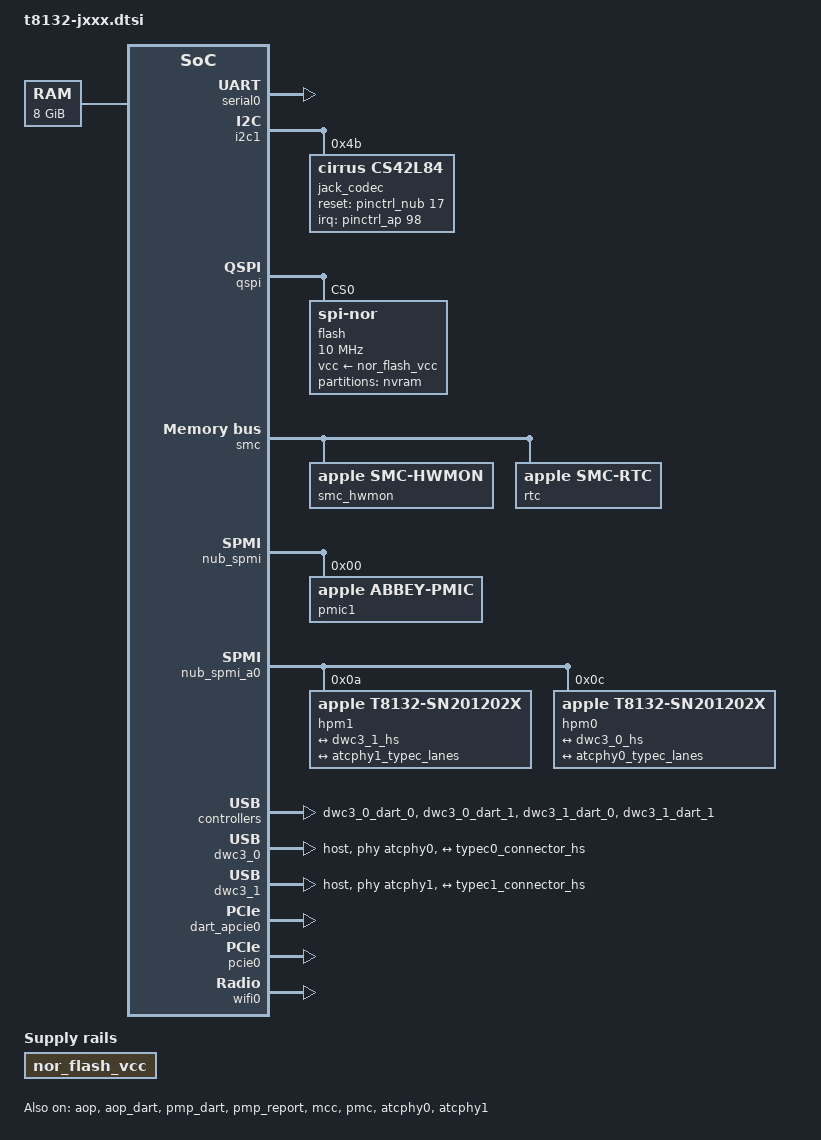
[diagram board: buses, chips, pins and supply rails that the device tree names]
// SPDX-License-Identifier: GPL-2.0+ OR MIT
/*
 * Apple M4 Mac mini, MacBook Air/Pro, iMac 24" (M4, 2024/2025)
 *
 * This file contains parts common to all Apple M4 devices using the t8132.
 *
 * target-type: J604, J623, J624, J713, J715, J773g
 *
 * Copyright The Asahi Linux Contributors
 */

#include <dt-bindings/gpio/gpio.h>
#include <dt-bindings/phy/phy.h>
#include <dt-bindings/spmi/spmi.h>

/ {
	aliases {
		serial0 = &serial0;
		sep = &sep;
		ans = &nvme;
		ans-mbox = &ans_mbox;
		atcphy0 = &atcphy0;
		atcphy1 = &atcphy1;
		bluetooth0 = &bluetooth0;
		nvram = &nvram;
		pmu-primary = &pmic1;
		pmp = &pmp;
		sart-ans = &sart;
		spmi-primary = &nub_spmi;
		wifi0 = &wifi0;
	};

	chosen {
		#address-cells = <2>;
		#size-cells = <2>;
		ranges;

		stdout-path = "serial0";

		linux-enablement-mac,disk-boot;
		linux-enablement-mac,dapf-handoff = "/arm-io/aop", "/arm-io/pmp";
		linux-enablement-mac,dapf-power-on-handoff = "/arm-io/pmp";

		framebuffer0: framebuffer@0 {
			compatible = "apple,simple-framebuffer", "simple-framebuffer";
			reg = <0 0 0 0>; /* To be filled by loader */
			power-domains = <&ps_disp_fe>, <&ps_dptx_phy>;
			/* Format properties will be added by loader */
			status = "disabled";
		};
	};

	reserved-memory {
		#address-cells = <2>;
		#size-cells = <2>;
		ranges;
		/* To be filled by loader */
	};

	memory@800000000 {
		device_type = "memory";
		reg = <0x8 0 0x2 0>; /* To be filled by loader */
	};

	/* The boot NOR's PMU rail is always on; the ADT gives it no supply. */
	nor_flash_vcc: regulator-nor-flash-vcc {
		compatible = "regulator-fixed";
		regulator-name = "nor-flash-vcc";
		regulator-always-on;
	};
};

&serial0 {
	status = "okay";
};

/*
 * m1n1 programs the AOP DART's DAPF and reserves its firmware and DAPF
 * windows when /chosen asks for the handoff, or disables the AOP.
 */
&aop {
	status = "okay";
};

&aop_dart {
	status = "okay";
};

&aop_mbox {
	/* A periodic report need not wake the system. */
	apple,hold-rx-in-sleep;
	status = "okay";
};

&admac0 {
	status = "okay";
};

&admac1 {
	status = "okay";
};

&cpufreq_e {
	status = "okay";
};

&cpufreq_p {
	status = "okay";
};

&cpuidle {
	status = "okay";
};

/* CS42L84 headphone codec: reset on nub GPIO 17, IRQ on AP GPIO 98. */
&i2c1 {
	status = "okay";

	jack_codec: codec@4b {
		compatible = "cirrus,cs42l84";
		reg = <0x4b>;
		reset-gpios = <&pinctrl_nub 17 GPIO_ACTIVE_HIGH>;
		#sound-dai-cells = <0>;
		interrupts-extended = <&pinctrl_ap 98 IRQ_TYPE_LEVEL_LOW>;
		sound-name-prefix = "Jack";
	};
};

&qspi {
	status = "okay";

	flash@0 {
		compatible = "jedec,spi-nor";
		reg = <0>;
		spi-max-frequency = <10000000>;
		vcc-supply = <&nor_flash_vcc>;
		spi-rx-bus-width = <1>;
		spi-tx-bus-width = <1>;

		partitions {
			compatible = "fixed-partitions";
			#address-cells = <1>;
			#size-cells = <1>;

			nvram: partition@700000 {
				label = "nvram";
				/* ADT /arm-io/qspi/spinor/anvram, flash-relative. */
				reg = <0x700000 0x100000>;
			};
		};
	};
};

&pmp_dart {
	status = "okay";
};

&pmp_report {
	status = "okay";
};

&pmp_mbox {
	status = "okay";
};

&mcc {
	apple,boot-dma-devices = <&pmp>;
	status = "okay";
};

&pmc {
	apple,static-voters = <3>;
	status = "okay";
};

&sep_mbox {
	status = "okay";
};

&smc {
	status = "okay";

	smc_hwmon: hwmon {
		compatible = "apple,smc-hwmon";
	};

	rtc {
		compatible = "apple,smc-rtc";
		nvmem-cells = <&rtc_offset>;
		nvmem-cell-names = "rtc_offset";
	};

	reboot {
		compatible = "apple,t8132-smc-reboot", "apple,smc-reboot";
		nvmem-cells = <&shutdown_flag>, <&boot_stage>,
			<&boot_error_count>, <&panic_count>;
		nvmem-cell-names = "shutdown_flag", "boot_stage",
			"boot_error_count", "panic_count";
	};
};

&smc_mbox {
	status = "okay";
};

&nub_spmi {
	status = "okay";

	pmic1: pmic@0 {
		compatible = "apple,abbey-pmic", "apple,spmi-nvmem";
		reg = <0x0 SPMI_USID>; /* To be filled by loader */

		nvmem-layout {
			compatible = "fixed-layout";
			#address-cells = <1>;
			#size-cells = <1>;

			rtc_offset: rtc-offset@2100 {
				reg = <0x2100 0x6>;
			};

			boot_stage: boot-stage@f801 {
				reg = <0xf801 0x1>;
			};

			boot_error_count: boot-error-count@f802,0 {
				reg = <0xf802 0x1>;
				bits = <0 4>;
			};

			panic_count: panic-count@f802,4 {
				reg = <0xf802 0x1>;
				bits = <4 4>;
			};

			shutdown_flag: shutdown-flag@f80f,3 {
				reg = <0xf80f 0x1>;
				bits = <3 1>;
			};
		};
	};
};

/* ATC0 and ATC1's port controllers. Boards label the connectors. */
&nub_spmi_a0 {
	status = "okay";

	hpm1: usb-pd@a {
		compatible = "apple,t8132-sn201202x", "apple,sn201202x";
		reg = <0xa SPMI_USID>;
		interrupts = <37 IRQ_TYPE_EDGE_RISING>,
			     <43 IRQ_TYPE_EDGE_RISING>,
			     <45 IRQ_TYPE_EDGE_RISING>;
		interrupt-names = "irq", "sleep", "wake";
		wakeup-source;

		typec1: connector {
			compatible = "usb-c-connector";
			power-role = "dual";
			data-role = "dual";

			ports {
				#address-cells = <1>;
				#size-cells = <0>;

				port@0 {
					reg = <0>;
					typec1_connector_hs: endpoint {
						remote-endpoint = <&dwc3_1_hs>;
					};
				};

				port@1 {
					reg = <1>;
					typec1_connector_ss: endpoint {
						remote-endpoint = <&atcphy1_typec_lanes>;
					};
				};
			};
		};
	};

	hpm0: usb-pd@c {
		compatible = "apple,t8132-sn201202x", "apple,sn201202x";
		reg = <0xc SPMI_USID>;
		interrupts = <11 IRQ_TYPE_EDGE_RISING>,
			     <17 IRQ_TYPE_EDGE_RISING>,
			     <19 IRQ_TYPE_EDGE_RISING>;
		interrupt-names = "irq", "sleep", "wake";
		wakeup-source;

		typec0: connector {
			compatible = "usb-c-connector";
			power-role = "dual";
			data-role = "dual";

			ports {
				#address-cells = <1>;
				#size-cells = <0>;

				port@0 {
					reg = <0>;
					typec0_connector_hs: endpoint {
						remote-endpoint = <&dwc3_0_hs>;
					};
				};

				port@1 {
					reg = <1>;
					typec0_connector_ss: endpoint {
						remote-endpoint = <&atcphy0_typec_lanes>;
					};
				};
			};
		};
	};
};

&atcphy0 {
	/* Leave the display crossbar at core + 0x4c000 to its own driver. */
	reg = <0x4 0x02a90000 0x0 0x4000>,
	      <0x4 0x02a84000 0x0 0x4000>,
	      <0x4 0x03000000 0x0 0x24000>,
	      <0x4 0x00000000 0x0 0x8000>,
	      <0x4 0x00020000 0x0 0x4000>,
	      <0x4 0x03044000 0x0 0x4000>,
	      <0x4 0x03050000 0x0 0x4000>;
	reg-names = "usb2phy", "pipehandler", "core", "axi2af", "lioa",
		    "fabric", "common-config";
	status = "okay";

	ports {
		#address-cells = <1>;
		#size-cells = <0>;

		port@0 {
			reg = <0>;
			atcphy0_typec_lanes: endpoint {
				remote-endpoint = <&typec0_connector_ss>;
			};
		};
	};
};

&dwc3_0_dart_0 {
	status = "okay";
};

&dwc3_0_dart_1 {
	status = "okay";
};

&dwc3_0 {
	dr_mode = "host";
	maximum-speed = "super-speed";
	phys = <&atcphy0 PHY_TYPE_USB2>, <&atcphy0 PHY_TYPE_USB3>;
	phy-names = "usb2-phy", "usb3-phy";
	status = "okay";

	ports {
		#address-cells = <1>;
		#size-cells = <0>;

		port@0 {
			reg = <0>;
			dwc3_0_hs: endpoint {
				remote-endpoint = <&typec0_connector_hs>;
			};
		};
	};
};

&atcphy1 {
	/* Leave the display crossbar at core + 0x4c000 to its own driver. */
	reg = <0x4 0x0aa90000 0x0 0x4000>,
	      <0x4 0x0aa84000 0x0 0x4000>,
	      <0x4 0x0b000000 0x0 0x24000>,
	      <0x4 0x08000000 0x0 0x8000>,
	      <0x4 0x08020000 0x0 0x4000>,
	      <0x4 0x0b044000 0x0 0x4000>,
	      <0x4 0x0b050000 0x0 0x4000>;
	reg-names = "usb2phy", "pipehandler", "core", "axi2af", "lioa",
		    "fabric", "common-config";
	status = "okay";

	ports {
		#address-cells = <1>;
		#size-cells = <0>;

		port@0 {
			reg = <0>;
			atcphy1_typec_lanes: endpoint {
				remote-endpoint = <&typec1_connector_ss>;
			};
		};
	};
};

&dwc3_1_dart_0 {
	status = "okay";
};

&dwc3_1_dart_1 {
	status = "okay";
};

&dwc3_1 {
	dr_mode = "host";
	maximum-speed = "super-speed";
	phys = <&atcphy1 PHY_TYPE_USB2>, <&atcphy1 PHY_TYPE_USB3>;
	phy-names = "usb2-phy", "usb3-phy";
	status = "okay";

	ports {
		#address-cells = <1>;
		#size-cells = <0>;

		port@0 {
			reg = <0>;
			dwc3_1_hs: endpoint {
				remote-endpoint = <&typec1_connector_hs>;
			};
		};
	};
};

/*
 * The radio port. m1n1 trains the link; Linux owns only the radio's
 * streams (ADT mapper-apcie0-wlan and -bt), RID-to-SID routing and MSI.
 * Power is the SMC's gP13, reset AP GPIO 163.
 */
&dart_apcie0 {
	apple,managed-sids = <1 2>;
	apple,dma-range = <0x100 0x00100000 0x0 0x3fe00000>;
	status = "okay";
};

&pcie0 {
	apple,managed-sids = <1 2>;
	iommu-map = <0x100 &dart_apcie0 1 2>;
	iommu-map-mask = <0xffff>;
	status = "okay";
};

&port00 {
	pwren-gpios = <&smc_gpio 0x13 GPIO_ACTIVE_HIGH>;
	reset-gpios = <&pinctrl_ap 163 GPIO_ACTIVE_LOW>;

	/* brcm,board-type is "apple," + the ADT wlan module-instance. */
	bluetooth0: bluetooth@0,1 {
		compatible = "pci14e4,5f72";
		reg = <0x10100 0x0 0x0 0x0 0x0>;
		/* Per-machine address and calibration supplied by m1n1. */
		local-bd-address = [00 00 00 00 00 00];
	};

	wifi0: wifi@0,0 {
		compatible = "pci14e4,4434";
		reg = <0x10000 0x0 0x0 0x0 0x0>;
		local-mac-address = [00 00 00 00 00 00];
		apple,antenna-sku = "XX";
	};
};
